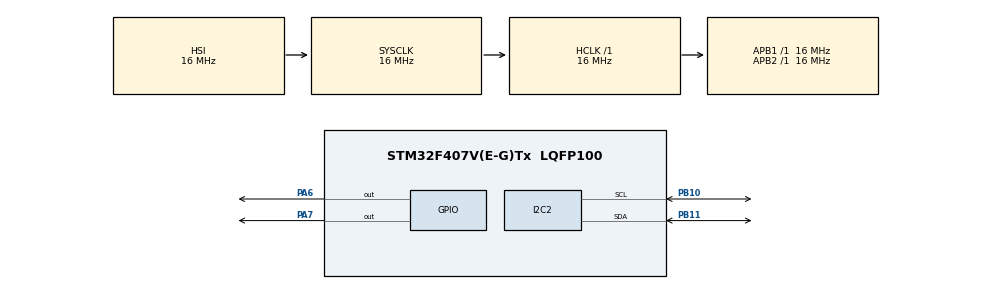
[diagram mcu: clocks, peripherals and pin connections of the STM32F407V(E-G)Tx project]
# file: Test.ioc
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Mcu.Family=STM32F4
Mcu.Name=STM32F407V(E-G)Tx
Mcu.Package=LQFP100
NVIC.PriorityGroup=NVIC_PRIORITYGROUP_4
PA6.Signal=GPIO_Output
PA7.Signal=GPIO_Output
PB10.Mode=I2C
PB10.Signal=I2C2_SCL
PB11.Mode=I2C
PB11.Signal=I2C2_SDA
ProjectManager.HeapSize=0x200
ProjectManager.StackSize=0x400
ProjectManager.TargetToolchain=STM32CubeIDE
RCC.AHBFreq_Value=16000000
RCC.APB1Freq_Value=16000000
RCC.APB2Freq_Value=16000000
RCC.CortexFreq_Value=16000000
RCC.HSE_VALUE=25000000
RCC.HSI_VALUE=16000000
RCC.LSE_VALUE=32768
RCC.SYSCLKFreq_VALUE=16000000
RCC.VCOOutputFreq_Value=192000000
board=custom

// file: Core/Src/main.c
/* USER CODE BEGIN Header */
/**
  ******************************************************************************
  * @file           : main.c
  * @brief          : Main program body
  ******************************************************************************
  * @attention
  *
  * Copyright (c) 2024 STMicroelectronics.
  * All rights reserved.
  *
  * This software is licensed under terms that can be found in the LICENSE file
  * in the root directory of this software component.
  * If no LICENSE file comes with this software, it is provided AS-IS.
  *
  ******************************************************************************
  */
/* USER CODE END Header */
#include "main.h"
#include "bmp280.h"

#include <stdbool.h>

I2C_HandleTypeDef hi2c2;

void SystemClock_Config(void);
static void MX_GPIO_Init(void);
static void MX_I2C2_Init(void);

int main(void)
{

  /* USER CODE BEGIN 1 */
  HAL_StatusTypeDef hal_status;
  bool is_connected;
  bool can_initialize;

  bmp280_init_t init_vars;

  /* USER CODE END 1 */

  /* MCU Configuration--------------------------------------------------------*/

  /* Reset of all peripherals, Initializes the Flash interface and the Systick. */
  HAL_Init();

  /* Configure the system clock */
  SystemClock_Config();

  /* Initialize all configured peripherals */
  MX_GPIO_Init();
  MX_I2C2_Init();

  /* USER CODE BEGIN 2 */
  HAL_GPIO_WritePin(GPIOA, GPIO_PIN_6, GPIO_PIN_SET);
  HAL_GPIO_WritePin(GPIOA, GPIO_PIN_7, GPIO_PIN_SET);

  /* if the BMP280 sensor is not connected, turn LED D2 on and quit */
  is_connected = bmp280_is_connected(&hi2c2);
  if(is_connected == false)
  {
    HAL_GPIO_WritePin(GPIOA, GPIO_PIN_6, GPIO_PIN_RESET);
    return 1;
  }

  init_vars.temp_setting = BMP280_TEMPERATURE_OFF;
  init_vars.pres_setting = BMP280_OVERSAMPLE_16;
  init_vars.mode = BMP280_MODE_NORMAL;

  can_initialize = bmp280_init(&hi2c2, init_vars);
  if(can_initialize == false)
  {
	HAL_GPIO_WritePin(GPIOA, GPIO_PIN_6, GPIO_PIN_RESET);
	return 2;
  }

  /* USER CODE END 2 */

  /* Infinite loop */
  /* USER CODE BEGIN WHILE */
  while (1)
  {

    bool bmp280_reset_value = bmp280_reset(&hi2c2);
    if(bmp280_reset_value == false)
    {
      HAL_GPIO_WritePin(GPIOA, GPIO_PIN_7, GPIO_PIN_RESET);
      return 1;
    }

  }
  /* USER CODE END WHILE */

  return 0;
}

void SystemClock_Config(void)
{
  RCC_OscInitTypeDef RCC_OscInitStruct = {0};
  RCC_ClkInitTypeDef RCC_ClkInitStruct = {0};

  /** Configure the main internal regulator output voltage
  */
  __HAL_RCC_PWR_CLK_ENABLE();
  __HAL_PWR_VOLTAGESCALING_CONFIG(PWR_REGULATOR_VOLTAGE_SCALE1);

  /** Initializes the RCC Oscillators according to the specified parameters
  * in the RCC_OscInitTypeDef structure.
  */
  RCC_OscInitStruct.OscillatorType = RCC_OSCILLATORTYPE_HSI;
  RCC_OscInitStruct.HSIState = RCC_HSI_ON;
  RCC_OscInitStruct.HSICalibrationValue = RCC_HSICALIBRATION_DEFAULT;
  RCC_OscInitStruct.PLL.PLLState = RCC_PLL_NONE;
  if (HAL_RCC_OscConfig(&RCC_OscInitStruct) != HAL_OK)
  {
    Error_Handler();
  }

  /** Initializes the CPU, AHB and APB buses clocks
  */
  RCC_ClkInitStruct.ClockType = RCC_CLOCKTYPE_HCLK|RCC_CLOCKTYPE_SYSCLK
                              |RCC_CLOCKTYPE_PCLK1|RCC_CLOCKTYPE_PCLK2;
  RCC_ClkInitStruct.SYSCLKSource = RCC_SYSCLKSOURCE_HSI;
  RCC_ClkInitStruct.AHBCLKDivider = RCC_SYSCLK_DIV1;
  RCC_ClkInitStruct.APB1CLKDivider = RCC_HCLK_DIV1;
  RCC_ClkInitStruct.APB2CLKDivider = RCC_HCLK_DIV1;

  if (HAL_RCC_ClockConfig(&RCC_ClkInitStruct, FLASH_LATENCY_0) != HAL_OK)
  {
    Error_Handler();
  }
}

static void MX_I2C2_Init(void)
{

  hi2c2.Instance = I2C2;
  hi2c2.Init.ClockSpeed = 100000;
  hi2c2.Init.DutyCycle = I2C_DUTYCYCLE_2;
  hi2c2.Init.OwnAddress1 = 0;
  hi2c2.Init.AddressingMode = I2C_ADDRESSINGMODE_7BIT;
  hi2c2.Init.DualAddressMode = I2C_DUALADDRESS_DISABLE;
  hi2c2.Init.OwnAddress2 = 0;
  hi2c2.Init.GeneralCallMode = I2C_GENERALCALL_DISABLE;
  hi2c2.Init.NoStretchMode = I2C_NOSTRETCH_DISABLE;
  if (HAL_I2C_Init(&hi2c2) != HAL_OK)
  {
    Error_Handler();
  }

}

static void MX_GPIO_Init(void)
{
  GPIO_InitTypeDef GPIO_InitStruct = {0};

  /* GPIO Ports Clock Enable */
  __HAL_RCC_GPIOA_CLK_ENABLE();
  __HAL_RCC_GPIOB_CLK_ENABLE();

  /*Configure GPIO pin Output Level */
  HAL_GPIO_WritePin(GPIOA, GPIO_PIN_6|GPIO_PIN_7, GPIO_PIN_RESET);

  /*Configure GPIO pins : PA6 PA7 */
  GPIO_InitStruct.Pin = GPIO_PIN_6|GPIO_PIN_7;
  GPIO_InitStruct.Mode = GPIO_MODE_OUTPUT_PP;
  GPIO_InitStruct.Pull = GPIO_NOPULL;
  GPIO_InitStruct.Speed = GPIO_SPEED_FREQ_LOW;
  HAL_GPIO_Init(GPIOA, &GPIO_InitStruct);

}

void Error_Handler(void)
{
  __disable_irq();
  while (1)
  {
  }
}
